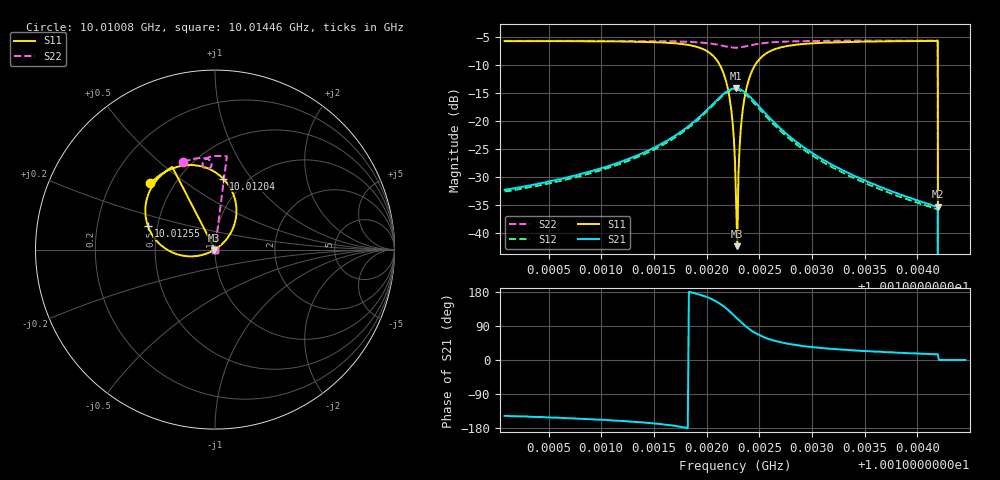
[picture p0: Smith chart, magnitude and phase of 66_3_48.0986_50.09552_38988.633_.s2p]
#  HZ  S  RI  R  50.00
! Rohde & Schwarz Vector Network Analyzer
! Rohde-Schwarz,ZNB20-2Port,1311601062101988,3.16
! Created: UTC 12/23/2023, 3:41:17 AM
! freq[Hz]  re:S11  im:S11  re:S21  im:S21  re:S12  im:S12  re:S22  im:S22
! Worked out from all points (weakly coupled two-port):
!   401 points, 10.01008 GHz to 10.01446 GHz, reference 50 ohm
!   highest |S21| = -14.18 dB at 10.01228 GHz (marker M1); lowest = -35.3 dB at 10.01419 GHz (marker M2)
!   lowest |S11| = -42.3 dB at 10.01229 GHz (marker M3), VSWR 1.02, Z = 49.3 - j0.346 ohm
!   |S11| at or under -10 dB: 10.01213 GHz to 10.01246 GHz (335 kHz wide, 0.00335 % of centre); 10.01419 GHz to end of sweep
!   |S22| runs from - to -5.6 dB; largest |S21 - S12| = 0.009
!   S11 on the Smith chart (normalised r, x): 10.01008 GHz: 0.37, +0.37; 10.01204 GHz: 0.79, +0.74; 10.01255 GHz: 0.44, +0.14; 10.01446 GHz: 1.00, +0.00
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1.0010083e10  -0.3601 0.3703  -0.0204 -0.0131  -0.0192 -0.0135  -0.1763 0.4882
1.0010816e10  -0.3043 0.4167  -0.0309 -0.0141  -0.0288 -0.0151  -0.1286 0.5031
1.0011548e10  -0.1951 0.4649  -0.0597 -0.0121  -0.0568 -0.0146  -0.0734 0.5112
1.001204e10  0.0453 0.3957  -0.129 0.0422  -0.1275 0.0348  -0.0237 0.4905
1.0012138e10  0.112 0.2781  -0.1391 0.0926  -0.1401 0.0845  -0.019 0.4723
1.0012204e10  0.1117 0.1531  -0.1252 0.1383  -0.1282 0.1304  -0.025 0.458
1.0012248e10  0.0694 0.0643  -0.0995 0.1669  -0.1032 0.1597  -0.0344 0.4512
1.0012269e10  0.0349 0.0266  -0.0826 0.1771  -0.087 0.1701  -0.0402 0.4495
1.001228e10  0.0147 0.0104  -0.0734 0.1812  -0.0779 0.1742  -0.0431 0.4492
1.0012291e10  -0.0068 -0.00351  -0.0641 0.1841  -0.0685 0.1772  -0.0462 0.4494
1.0012302e10  -0.0305 -0.0158  -0.0544 0.1861  -0.0591 0.1795  -0.0492 0.4499
1.0012324e10  -0.0788 -0.0318  -0.0355 0.187  -0.0395 0.1809  -0.0548 0.4519
1.0012335e10  -0.1021 -0.0358  -0.0264 0.1864  -0.03 0.1801  -0.0573 0.4534
1.0012379e10  -0.1947 -0.0305  0.00837 0.1756  0.00329 0.1698  -0.0651 0.4614
1.0012444e10  -0.2963 0.0207  0.0417 0.1473  0.0355 0.1425  -0.0689 0.4754
1.0012554e10  -0.373 0.1295  0.0607 0.1011  0.0544 0.0987  -0.0632 0.4937
1.0013002e10  -0.3555 0.343  0.0428 0.0292  0.0395 0.0296  -0.021 0.5178
1.0013734e10  -0.2774 0.4337  0.0226 0.00833  0.0212 0.009  0.0346 0.5218
1.0014171e10  -0.2403 0.4597  0.0168 0.00459  0.0157 0.00515  0.0646 0.5198
1.0014193e10  -0.2384 0.4608  0.0166 0.00446  0.0153 0.00503  0.066 0.5196
1.0014226e10  0 0  0 0  0 0  0 0
1.0014456e10  0 0  0 0  0 0  0 0
